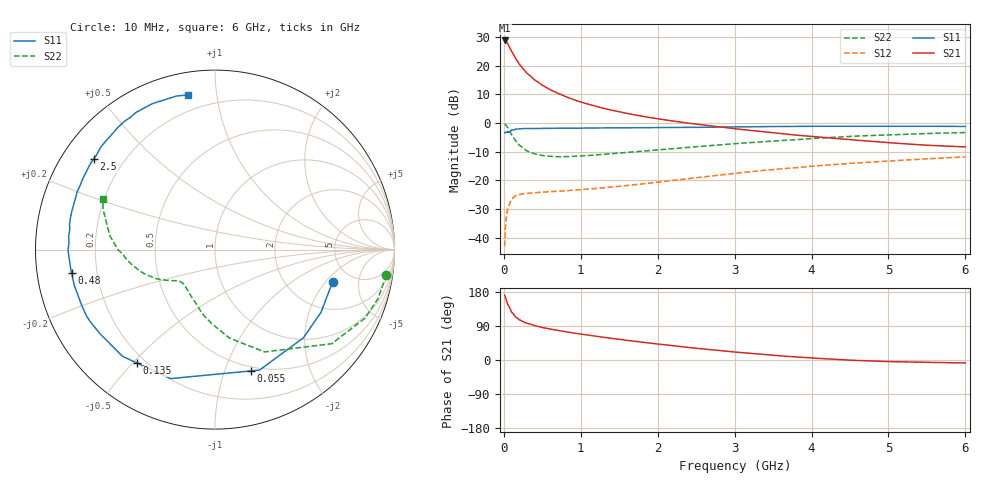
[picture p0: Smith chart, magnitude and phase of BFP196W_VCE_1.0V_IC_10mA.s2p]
! Infineon Technologies  Discrete & RF Semiconductors
! BFP196W
! VCE = 1.0 V,  IC =  10mA
! Common Emitter S-Parameters:  Jan 2016
# GHz  S  MA  R  50
!  f  S11  S21  S12  S22
! GHz  MAG  ANG  MAG  ANG  MAG  ANG  MAG  ANG
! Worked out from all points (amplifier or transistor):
!   210 points, 10 MHz to 6 GHz, reference 50 ohm
!   highest |S21| = 28.9 dB at 10 MHz (marker M1)
!   |S21| within 3 dB of that: start of sweep to 85.26 MHz
!   unconditionally stable (mu >= 1): 1.143 GHz to 3.509 GHz; 5.883 GHz to end of sweep
!   at 185 MHz: K = 0.22, MSG = 23.2 dB, |S12| = -25.1 dB
!   at 1.52 GHz: K = 1.16, MAG = 10.5 dB, |S12| = -22.0 dB
!   at 6 GHz: K = 1.01, MAG = 1.3 dB, |S12| = -11.8 dB
!   S11 on the Smith chart (normalised r, x): 10 MHz: 3.55, -2.38; 55 MHz: 0.46, -1.23; 135 MHz: 0.17, -0.51; 480 MHz: 0.11, -0.08; 2.5 GHz: 0.09, +0.33; 6 GHz: 0.11, +0.84
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0.01  0.6793 -15.4  27.77 171.3  0.0071 81.5  0.9653 -8.4
0.02  0.6863 -30.5  27.73 165.7  0.0148 75.7  0.9483 -16.8
0.03  0.6958 -44.9  26.89 159.1  0.0214 70.4  0.9188 -24.6
0.05  0.7158 -69.7  24.45 146.8  0.0321 59.1  0.8351 -38.9
0.055  0.7047 -73.6  23.71 145.3  0.0334 56.6  0.8094 -40.8
0.1  0.7601 -109.0  18.07 126.3  0.0467 41.1  0.6338 -64.1
0.135  0.7671 -124.5  14.93 118.4  0.0515 34.4  0.5349 -74.9
0.15  0.7868 -130.9  13.7 113.9  0.0538 31.9  0.4999 -80.7
0.2  0.7933 -143.5  10.74 106.4  0.0565 27.0  0.4145 -92.2
0.26  0.8061 -152.9  8.581 100.3  0.0587 23.9  0.3586 -102.0
0.3  0.8051 -157.6  7.443 96.9  0.0593 22.7  0.3273 -107.4
0.4  0.8087 -165.8  5.693 90.6  0.0611 21.4  0.291 -117.3
0.48  0.8097 -170.6  4.81 86.8  0.0621 21.6  0.2755 -122.8
0.7  0.819 -179.7  3.328 78.0  0.0646 23.6  0.2589 -132.4
1.02  0.818 171.8  2.289 68.0  0.069 28.2  0.2678 -139.3
1.44  0.8259 162.8  1.638 56.1  0.0773 34.6  0.2957 -144.3
2.02  0.836 151.6  1.18 41.8  0.0937 41.3  0.3435 -150.9
2.5  0.844 143.2  0.96 31.0  0.1111 43.9  0.3883 -157.3
3.1  0.8596 133.2  0.772 19.4  0.1369 44.0  0.4474 -166.2
4.1  0.8816 118.6  0.57 4.1  0.1808 39.6  0.5476 178.7
5.1  0.8806 107.5  0.446 -4.6  0.2219 32.5  0.6313 164.8
6  0.875 99.8  0.384 -7.7  0.2575 26.2  0.6849 155.7
